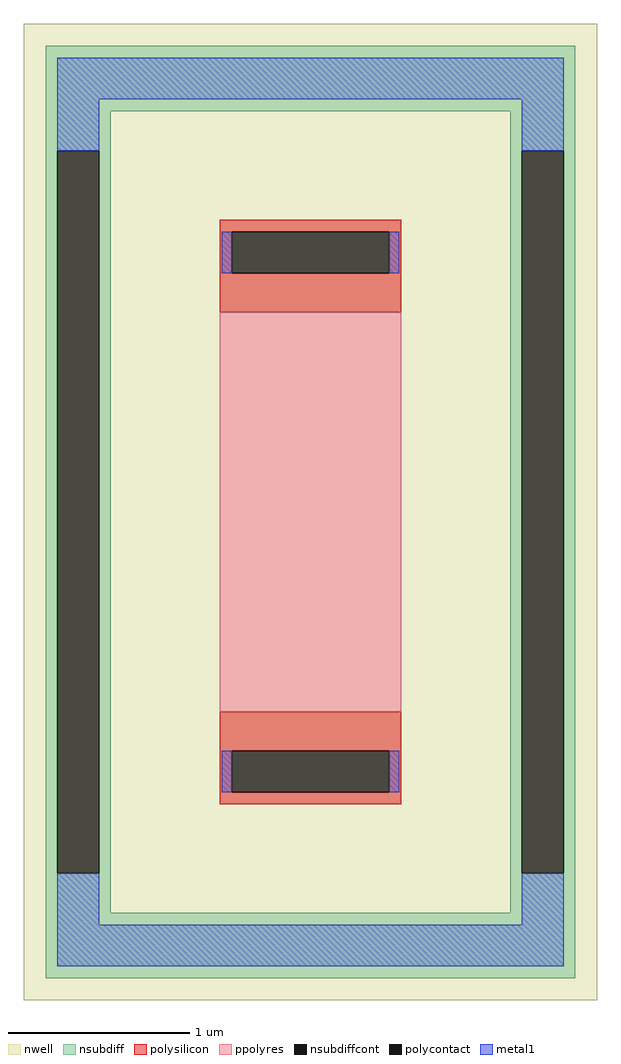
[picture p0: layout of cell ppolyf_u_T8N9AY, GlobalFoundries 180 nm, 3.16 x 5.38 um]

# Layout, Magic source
magic
tech gf180mcuD
magscale 1 10
<< nwell >>
rect -316 -538 316 538
<< nsubdiff >>
rect -292 442 292 514
rect -292 398 -220 442
rect -292 -398 -279 398
rect -233 -398 -220 398
rect 220 398 292 442
rect -292 -442 -220 -398
rect 220 -398 233 398
rect 279 -398 292 398
rect 220 -442 292 -398
rect -292 -514 292 -442
<< nsubdiffcont >>
rect -279 -398 -233 398
rect 233 -398 279 398
<< polysilicon >>
rect -100 309 100 322
rect -100 263 -87 309
rect 87 263 100 309
rect -100 220 100 263
rect -100 -263 100 -220
rect -100 -309 -87 -263
rect 87 -309 100 -263
rect -100 -322 100 -309
<< polycontact >>
rect -87 263 87 309
rect -87 -309 87 -263
<< ppolyres >>
rect -100 -220 100 220
<< metal1 >>
rect -279 455 279 501
rect -279 398 -233 455
rect 233 398 279 455
rect -98 263 -87 309
rect 87 263 98 309
rect -98 -309 -87 -263
rect 87 -309 98 -263
rect -279 -455 -233 -398
rect 233 -455 279 -398
rect -279 -501 279 -455
<< properties >>
string FIXED_BBOX -256 -478 256 478
string gencell ppolyf_u
string library gf180mcu
string parameters w 1.0 l 2.2 m 1 nx 1 wmin 0.80 lmin 1.00 class resistor rho 315 val 745.161 dummy 0 dw 0.07 term 0.0 sterm 0.0 caplen 0.4 snake 0 glc 1 grc 1 gtc 0 gbc 0 roverlap 0 endcov 100 full_metal 1
<< end >>
